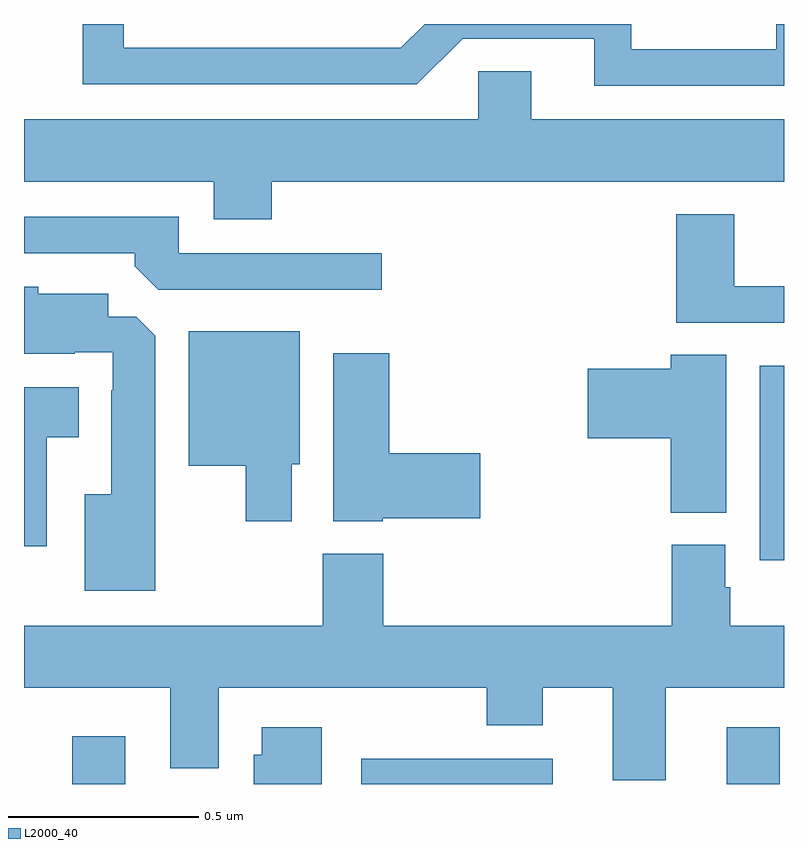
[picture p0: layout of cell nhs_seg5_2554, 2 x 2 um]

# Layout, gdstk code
import gdstk
lib = gdstk.Library(unit=1e-6, precision=1e-09)
def R(c, l, rs):  # rectangles x0, y0, x1, y1
    for r in rs: c.add(gdstk.rectangle(r[:2], r[2:], *l))
def P(c, l, *ps):  # polygons
    for p in ps: c.add(gdstk.Polygon(p, *l))
L2000_40 = (2000, 40)

nhs_seg5_2554 = lib.new_cell('nhs_seg5_2554')
R(nhs_seg5_2554, L2000_40, [(145.127,897.799,145.267,897.925), (145.887,897.799,146.392,897.866), (146.849,897.799,146.989,897.949), (146.936,898.388,147,898.9)])
P(nhs_seg5_2554, L2000_40, [(147,899.799),(146.979,899.799),(146.979,899.733),(146.598,899.733),(146.598,899.799),(146.055,899.799),(145.992,899.736),(145.263,899.736),(145.263,899.799),(145.155,899.799),(145.155,899.64),(146.034,899.64),(146.154,899.76),(146.501,899.76),(146.501,899.637),(147,899.637)],
  [(145.652,899.384),(147,899.384),(147,899.548),(146.335,899.548),(146.335,899.675),(146.196,899.675),(146.196,899.548),(145,899.548),(145,899.384),(145.499,899.384),(145.499,899.285),(145.652,899.285)],
  [(147,899.109),(146.869,899.109),(146.869,899.299),(146.717,899.299),(146.717,899.013),(147,899.013)],
  [(145.942,899.196),(145.407,899.196),(145.407,899.292),(145,899.292),(145,899.196),(145.292,899.196),(145.292,899.162),(145.353,899.1),(145.942,899.1)],
  [(145.345,898.979),(145.296,899.028),(145.222,899.028),(145.222,899.089),(145.038,899.089),(145.038,899.107),(145,899.107),(145,898.931),(145.133,898.931),(145.133,898.935),(145.233,898.935),(145.233,898.835),(145.229,898.835),(145.229,898.561),(145.16,898.561),(145.16,898.307),(145.345,898.307)],
  [(145.705,898.641),(145.726,898.641),(145.726,898.99),(145.433,898.99),(145.433,898.637),(145.583,898.637),(145.583,898.491),(145.705,898.491)],
  [(145.944,898.499),(146.2,898.499),(146.2,898.67),(145.961,898.67),(145.961,898.933),(145.814,898.933),(145.814,898.49),(145.944,898.49)],
  [(146.848,898.928),(146.702,898.928),(146.702,898.892),(146.484,898.892),(146.484,898.709),(146.702,898.709),(146.702,898.513),(146.848,898.513)],
  [(145.06,898.712),(145.144,898.712),(145.144,898.843),(145,898.843),(145,898.425),(145.06,898.425)],
  [(146.689,898.052),(147,898.052),(147,898.216),(146.858,898.216),(146.858,898.317),(146.845,898.317),(146.845,898.428),(146.705,898.428),(146.705,898.216),(145.946,898.216),(145.946,898.405),(145.786,898.405),(145.786,898.216),(145,898.216),(145,898.052),(145.385,898.052),(145.385,897.841),(145.513,897.841),(145.513,898.052),(146.218,898.052),(146.218,897.953),(146.365,897.953),(146.365,898.052),(146.549,898.052),(146.549,897.809),(146.689,897.809)],
  [(145.783,897.949),(145.625,897.949),(145.625,897.876),(145.604,897.876),(145.604,897.799),(145.783,897.799)])

lib.write_gds('nhs_seg5_2554.gds')
